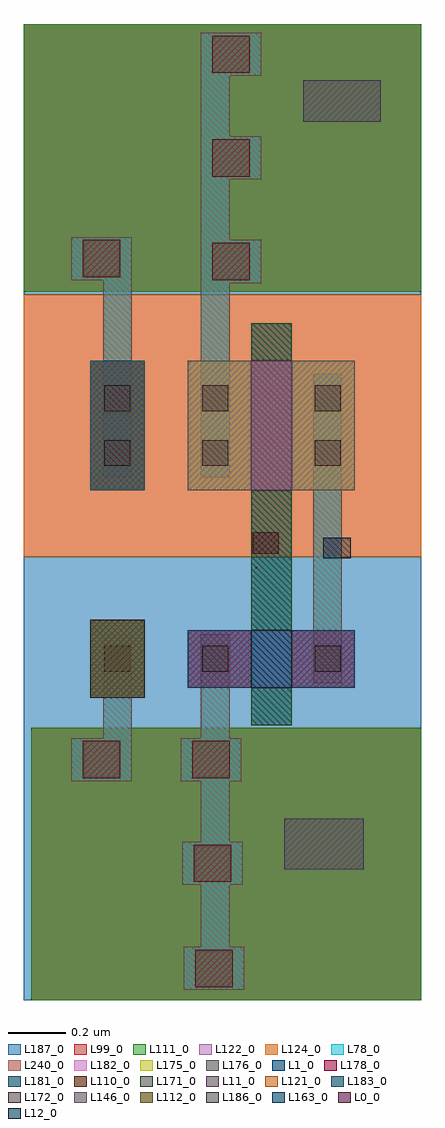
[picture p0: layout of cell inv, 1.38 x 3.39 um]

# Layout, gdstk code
import gdstk
lib = gdstk.Library(unit=1e-6, precision=1e-09)
def R(c, l, rs):  # rectangles x0, y0, x1, y1
    for r in rs: c.add(gdstk.rectangle(r[:2], r[2:], *l))
def A(c, l, x, y, w, h, nx, ny, dx, dy):  # array of equal rectangles
    R(c, l, [(x+i*dx, y+j*dy, x+i*dx+w, y+j*dy+h) for i in range(nx) for j in range(ny)])
def P(c, l, *ps):  # polygons
    for p in ps: c.add(gdstk.Polygon(p, *l))
L0_0 = (0, 0)
L1_0 = (1, 0)
L11_0 = (11, 0)
L12_0 = (12, 0)
L78_0 = (78, 0)
L99_0 = (99, 0)
L110_0 = (110, 0)
L111_0 = (111, 0)
L112_0 = (112, 0)
L121_0 = (121, 0)
L122_0 = (122, 0)
L124_0 = (124, 0)
L146_0 = (146, 0)
L163_0 = (163, 0)
L171_0 = (171, 0)
L172_0 = (172, 0)
L175_0 = (175, 0)
L176_0 = (176, 0)
L178_0 = (178, 0)
L181_0 = (181, 0)
L182_0 = (182, 0)
L183_0 = (183, 0)
L186_0 = (186, 0)
L187_0 = (187, 0)
L240_0 = (240, 0)

inv = lib.new_cell('inv')
R(inv, L0_0, [(-3.16,-1.115,-3.155,-1.11), (-3.17,-1.065,-3.08,-0.99)])
R(inv, L1_0, [(-3.175,-1.66,-3.035,-0.265)])
R(inv, L11_0, [(-3.06,-2.16,-2.785,-1.985), (-2.995,0.435,-2.725,0.58)])
R(inv, L12_0, [(-2.925,-1.08,-2.83,-1.01)])
R(inv, L78_0, [(-2.96,-1.515,-2.86,-0.44)])
P(inv, L78_0, [(-3.59,0.035),(-3.59,-0.8),(-3.69,-0.8),(-3.69,-0.115),(-3.8,-0.115),(-3.8,0.035)],
  [(-3.14,0.745),(-3.14,0.595),(-3.25,0.595),(-3.25,0.385),(-3.14,0.385),(-3.14,0.235),(-3.25,0.235),(-3.25,0.025),(-3.14,0.025),(-3.14,-0.125),(-3.25,-0.125),(-3.25,-0.8),(-3.35,-0.8),(-3.35,0.745)],
  [(-3.59,-1.345),(-3.59,-1.855),(-3.8,-1.855),(-3.8,-1.705),(-3.69,-1.705),(-3.69,-1.345)],
  [(-3.25,-1.345),(-3.25,-1.705),(-3.21,-1.705),(-3.21,-1.855),(-3.25,-1.855),(-3.25,-2.065),(-3.205,-2.065),(-3.205,-2.215),(-3.25,-2.215),(-3.25,-2.43),(-3.2,-2.43),(-3.2,-2.58),(-3.41,-2.58),(-3.41,-2.43),(-3.35,-2.43),(-3.35,-2.215),(-3.415,-2.215),(-3.415,-2.065),(-3.35,-2.065),(-3.35,-1.855),(-3.42,-1.855),(-3.42,-1.705),(-3.35,-1.705),(-3.35,-1.345)])
R(inv, L99_0, [(-3.94,-2.615,-2.585,-1.67), (-3.965,-0.155,-2.585,0.775)])
A(inv, L110_0, -3.31, -0.115, 0.13, 0.13, 1, 3, 0, 0.36)
R(inv, L110_0, [(-3.37,-2.57,-3.24,-2.44), (-3.375,-2.205,-3.245,-2.075), (-3.76,-1.845,-3.63,-1.715), (-3.38,-1.845,-3.25,-1.715), (-3.76,-0.105,-3.63,0.025)])
R(inv, L111_0, [(-3.94,-2.615,-2.585,-1.67), (-3.965,-0.155,-2.585,0.775)])
R(inv, L112_0, [(-3.735,-1.565,-3.545,-1.295)])
R(inv, L121_0, [(-3.735,-0.845,-3.545,-0.395)])
R(inv, L122_0, [(-3.965,-1.075,-2.585,-0.165)])
R(inv, L124_0, [(-3.965,-1.075,-2.585,-0.165)])
R(inv, L146_0, [(-3.175,-0.845,-3.035,-0.395)])
R(inv, L163_0, [(-3.175,-1.53,-3.035,-1.33)])
R(inv, L171_0, [(-3.175,-1.66,-3.035,-1.53), (-3.175,-1.33,-3.035,-0.845), (-3.175,-0.395,-3.035,-0.265)])
R(inv, L172_0, [(-3.685,-1.475,-3.595,-1.385), (-3.345,-1.475,-3.255,-1.385), (-2.955,-1.475,-2.865,-1.385), (-3.685,-0.76,-3.595,-0.67), (-3.345,-0.76,-3.255,-0.67), (-2.955,-0.76,-2.865,-0.67), (-3.685,-0.57,-3.595,-0.48), (-3.345,-0.57,-3.255,-0.48), (-2.955,-0.57,-2.865,-0.48)])
R(inv, L175_0, [(-3.735,-1.565,-3.545,-1.295), (-3.395,-0.845,-3.175,-0.395), (-3.035,-0.845,-2.815,-0.395)])
R(inv, L176_0, [(-3.735,-1.565,-3.545,-1.295), (-3.395,-0.845,-3.175,-0.395), (-3.035,-0.845,-2.815,-0.395)])
R(inv, L178_0, [(-3.395,-1.53,-3.175,-1.33), (-3.035,-1.53,-2.815,-1.33), (-3.735,-0.845,-3.545,-0.395)])
R(inv, L181_0, [(-3.395,-1.53,-3.175,-1.33), (-3.035,-1.53,-2.815,-1.33), (-3.735,-0.845,-3.545,-0.395)])
R(inv, L182_0, [(-3.735,-1.565,-3.545,-1.295), (-3.395,-1.53,-3.175,-1.33), (-3.035,-1.53,-2.815,-1.33), (-3.735,-0.845,-3.545,-0.395), (-3.395,-0.845,-3.175,-0.395), (-3.035,-0.845,-2.815,-0.395)])
R(inv, L183_0, [(-3.735,-0.845,-3.545,-0.395)])
R(inv, L186_0, [(-3.735,-1.565,-3.545,-1.295)])
R(inv, L187_0, [(-3.965,-2.615,-2.585,-1.075), (-3.965,-0.165,-2.585,0.775)])
R(inv, L240_0, [(-2.96,-1.515,-2.86,-0.44)])
P(inv, L240_0, [(-3.59,0.035),(-3.59,-0.8),(-3.69,-0.8),(-3.69,-0.115),(-3.8,-0.115),(-3.8,0.035)],
  [(-3.14,0.745),(-3.14,0.595),(-3.25,0.595),(-3.25,0.385),(-3.14,0.385),(-3.14,0.235),(-3.25,0.235),(-3.25,0.025),(-3.14,0.025),(-3.14,-0.125),(-3.25,-0.125),(-3.25,-0.8),(-3.35,-0.8),(-3.35,0.745)],
  [(-3.59,-1.345),(-3.59,-1.855),(-3.8,-1.855),(-3.8,-1.705),(-3.69,-1.705),(-3.69,-1.345)],
  [(-3.25,-1.345),(-3.25,-1.705),(-3.21,-1.705),(-3.21,-1.855),(-3.25,-1.855),(-3.25,-2.065),(-3.205,-2.065),(-3.205,-2.215),(-3.25,-2.215),(-3.25,-2.43),(-3.2,-2.43),(-3.2,-2.58),(-3.41,-2.58),(-3.41,-2.43),(-3.35,-2.43),(-3.35,-2.215),(-3.415,-2.215),(-3.415,-2.065),(-3.35,-2.065),(-3.35,-1.855),(-3.42,-1.855),(-3.42,-1.705),(-3.35,-1.705),(-3.35,-1.345)])

lib.write_gds('inv.gds')
